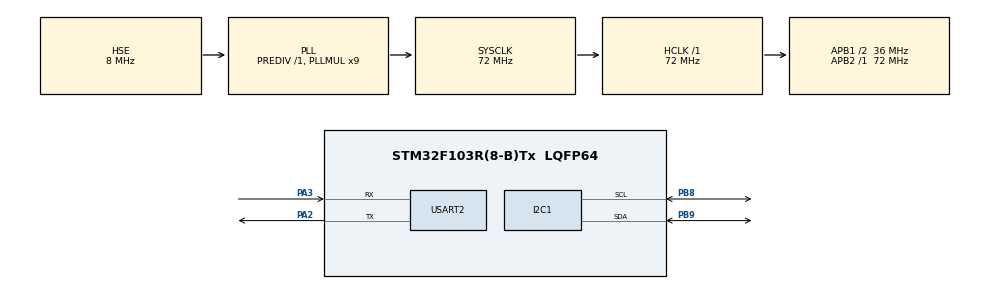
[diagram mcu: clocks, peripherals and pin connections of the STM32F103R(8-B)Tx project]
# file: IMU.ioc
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Mcu.Family=STM32F1
Mcu.Name=STM32F103R(8-B)Tx
Mcu.Package=LQFP64
NVIC.PriorityGroup=NVIC_PRIORITYGROUP_4
PA13.Mode=Serial_Wire
PA13.Signal=SYS_JTMS-SWDIO
PA14.Mode=Serial_Wire
PA14.Signal=SYS_JTCK-SWCLK
PA2.Mode=Asynchronous
PA2.Signal=USART2_TX
PA3.Mode=Asynchronous
PA3.Signal=USART2_RX
PB8.Mode=I2C
PB8.Signal=I2C1_SCL
PB9.Mode=I2C
PB9.Signal=I2C1_SDA
PD0-OSC_IN.Mode=HSE-External-Oscillator
PD0-OSC_IN.Signal=RCC_OSC_IN
PD1-OSC_OUT.Mode=HSE-External-Oscillator
PD1-OSC_OUT.Signal=RCC_OSC_OUT
ProjectManager.HeapSize=0x200
ProjectManager.StackSize=0x400
ProjectManager.TargetToolchain=MDK-ARM V5.32
RCC.AHBFreq_Value=72000000
RCC.APB1CLKDivider=RCC_HCLK_DIV2
RCC.APB1Freq_Value=36000000
RCC.APB1TimFreq_Value=72000000
RCC.APB2Freq_Value=72000000
RCC.APB2TimFreq_Value=72000000
RCC.HCLKFreq_Value=72000000
RCC.PLLMUL=RCC_PLL_MUL9
RCC.PLLSourceVirtual=RCC_PLLSOURCE_HSE
RCC.SYSCLKFreq_VALUE=72000000
RCC.SYSCLKSource=RCC_SYSCLKSOURCE_PLLCLK
RCC.USBFreq_Value=72000000
USART2.VirtualMode=VM_ASYNC
board=custom

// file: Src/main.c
/* USER CODE BEGIN Header */
/**
  ******************************************************************************
  * @file           : main.c
  * @brief          : Main program body
  ******************************************************************************
  * @attention
  *
  * Copyright (c) 2022 STMicroelectronics.
  * All rights reserved.
  *
  * This software is licensed under terms that can be found in the LICENSE file
  * in the root directory of this software component.
  * If no LICENSE file comes with this software, it is provided AS-IS.
  *
  ******************************************************************************
  */
/* USER CODE END Header */
#include "main.h"
#include "i2c.h"
#include "usart.h"
#include "gpio.h"

/* USER CODE BEGIN Includes */
#include "IMU.h"
/* USER CODE END Includes */

void SystemClock_Config(void);

/* USER CODE BEGIN 0 */
#ifdef __GNUC__
  /* With GCC/RAISONANCE, small printf (option LD Linker->Libraries->Small printf
     set to 'Yes') calls __io_putchar() */
  #define PUTCHAR_PROTOTYPE int __io_putchar(int ch)
#else
  #define PUTCHAR_PROTOTYPE int fputc(int ch, FILE *f)
#endif /* __GNUC__ */
/**
  * @brief  Retargets the C library printf function to the USART.
  * @param  None
  * @retval None
  */
PUTCHAR_PROTOTYPE
{
  /* Place your implementation of fputc here */
  /* e.g. write a character to the EVAL_COM1 and Loop until the end of transmission */
  HAL_UART_Transmit(&huart2, (uint8_t *)&ch, 1, 0xFFFF);

  return ch;
}
/* USER CODE END 0 */

int main(void)
{

  /* MCU Configuration--------------------------------------------------------*/

  /* Reset of all peripherals, Initializes the Flash interface and the Systick. */
  HAL_Init();

  /* Configure the system clock */
  SystemClock_Config();

  /* Initialize all configured peripherals */
  MX_GPIO_Init();
  MX_I2C1_Init();
  MX_USART2_UART_Init();
  /* USER CODE BEGIN 2 */
	IMU_ST_ANGLES_DATA stAngles;
	IMU_ST_SENSOR_DATA stGyroRawData;
	IMU_ST_SENSOR_DATA stAccelRawData;
	IMU_ST_SENSOR_DATA stMagnRawData;

	float temp;
	imuInit();
  /* USER CODE END 2 */

  /* Infinite loop */
  while (1)
  {

    /* USER CODE BEGIN 3 */
		imuDataGet( &stAngles, &stGyroRawData, &stAccelRawData, &stMagnRawData);
		temp = QMI8658_readTemp();
		printf("\r\n /-------------------------------------------------------------/ \r\n");
		printf("\r\n Roll: %.2f     Pitch: %.2f     Yaw: %.2f \r\n",stAngles.fRoll, stAngles.fPitch, stAngles.fYaw);
		printf("\r\n Acceleration: X: %d     Y: %d     Z: %d \r\n",stAccelRawData.s16X, stAccelRawData.s16Y, stAccelRawData.s16Z);
		printf("\r\n Gyroscope: X: %d     Y: %d     Z: %d \r\n",stGyroRawData.s16X, stGyroRawData.s16Y, stGyroRawData.s16Z);
		printf("\r\n Magnetic: X: %d     Y: %d     Z: %d \r\n",stMagnRawData.s16X, stMagnRawData.s16Y, stMagnRawData.s16Z);
		printf("\r\n QMITemp:%.2f C\r\n",temp);
		HAL_Delay(100);
  }
  /* USER CODE END 3 */
}

void SystemClock_Config(void)
{
  RCC_OscInitTypeDef RCC_OscInitStruct = {0};
  RCC_ClkInitTypeDef RCC_ClkInitStruct = {0};

  /** Initializes the RCC Oscillators according to the specified parameters
  * in the RCC_OscInitTypeDef structure.
  */
  RCC_OscInitStruct.OscillatorType = RCC_OSCILLATORTYPE_HSE;
  RCC_OscInitStruct.HSEState = RCC_HSE_ON;
  RCC_OscInitStruct.HSEPredivValue = RCC_HSE_PREDIV_DIV1;
  RCC_OscInitStruct.HSIState = RCC_HSI_ON;
  RCC_OscInitStruct.PLL.PLLState = RCC_PLL_ON;
  RCC_OscInitStruct.PLL.PLLSource = RCC_PLLSOURCE_HSE;
  RCC_OscInitStruct.PLL.PLLMUL = RCC_PLL_MUL9;
  if (HAL_RCC_OscConfig(&RCC_OscInitStruct) != HAL_OK)
  {
    Error_Handler();
  }
  /** Initializes the CPU, AHB and APB buses clocks
  */
  RCC_ClkInitStruct.ClockType = RCC_CLOCKTYPE_HCLK|RCC_CLOCKTYPE_SYSCLK
                              |RCC_CLOCKTYPE_PCLK1|RCC_CLOCKTYPE_PCLK2;
  RCC_ClkInitStruct.SYSCLKSource = RCC_SYSCLKSOURCE_PLLCLK;
  RCC_ClkInitStruct.AHBCLKDivider = RCC_SYSCLK_DIV1;
  RCC_ClkInitStruct.APB1CLKDivider = RCC_HCLK_DIV2;
  RCC_ClkInitStruct.APB2CLKDivider = RCC_HCLK_DIV1;

  if (HAL_RCC_ClockConfig(&RCC_ClkInitStruct, FLASH_LATENCY_2) != HAL_OK)
  {
    Error_Handler();
  }
}

void Error_Handler(void)
{
  __disable_irq();
  while (1)
  {
  }
}
